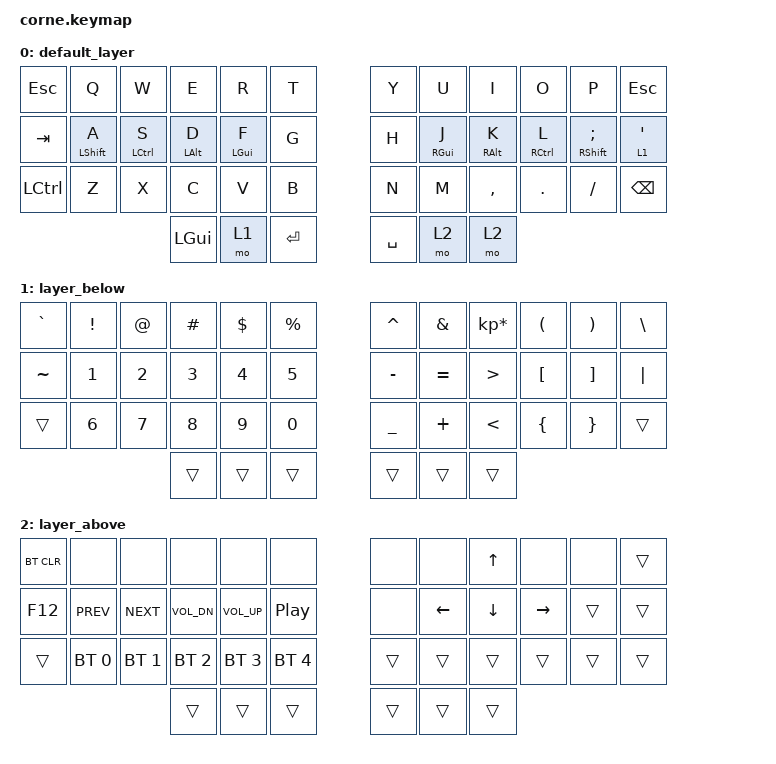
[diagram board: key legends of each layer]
/*
 * Copyright (c) 2020 The ZMK Contributors
 *
 * SPDX-License-Identifier: MIT
 */

#include <behaviors.dtsi>
#include <dt-bindings/zmk/keys.h>
#include <dt-bindings/zmk/bt.h>

/ {
        combos {
                compatible = "zmk,combos";
                // ╭─────┬─────┬─────┬─────┬─────┬─────╮   ╭─────┬─────┬─────┬─────┬─────┬─────╮
                // │  0  │  1  │  2  │  3  │  4  │  5  │   │  6  │  7  │  8  │  9  │ 10  │ 11  │
                // ├─────┼─────┼─────┼─────┼─────┼─────┤   ├─────┼─────┼─────┼─────┼─────┼─────┤
                // │ 12  │ 13  │ 14  │ 15  │ 16  │ 17  │   │ 18  │ 19  │ 20  │ 21  │ 22  │ 23  │
                // ├─────┼─────┼─────┼─────┼─────┼─────┤   ├─────┼─────┼─────┼─────┼─────┼─────┤
                // │ 24  │ 25  │ 26  │ 27  │ 28  │ 29  │   │ 30  │ 31  │ 32  │ 33  │ 34  │ 35  │
                // ╰─────┴─────┴─────┼─────┼─────┼─────┤   ├─────┼─────┼─────┼─────┴─────┴─────╯
                //                   │ 36  │ 37  │ 38  │   │ 39  │ 40  │ 41  │
                //                   ╰─────┴─────┴─────╯   ╰─────┴─────┴─────╯
                combo_enter {
                        timeout-ms = <50>;
                        key-positions = <19 20 21>;
                        bindings = <&kp RET>;
                };
        };

        behaviors {
          tp: tap_preferred {
            compatible = "zmk,behavior-hold-tap";
            label = "TAP_PREFERRED";
            #binding-cells = <2>;
            tapping-term-ms = <150>;
            quick-tap-ms = <200>;
            flavor = "tap-preferred";
            bindings = <&kp>, <&kp>;
          }; 
        };

        keymap {
                compatible = "zmk,keymap";

                default_layer {
// ╭──────┬───────┬───────┬───────┬───────┬─────╮   ╭─────┬───────┬───────┬───────┬───────┬────────╮
// │ ESC  │   Q   │   W   │   E   │   R   │  T  │   │  Y  │   U   │   I   │   O   │   P   │  ESC   │
// ├──────┼───────┼───────┼───────┼───────┼─────┤   ├─────┼───────┼───────┼───────┼───────┼────────┤
// │ TAB  │ A/SHF │ S/CTL │ D/ALT │ F/GUI │  G  │   │  H  │ J/GUI │ K/ALT │ L/CTL │ ;/SHF │ LWR/'  │
// ├──────┼───────┼───────┼───────┼───────┼─────┤   ├─────┼───────┼───────┼───────┼───────┼────────┤
// │ CTRL │   Z   │   X   │   C   │   V   │  B  │   │  N  │   M   │   ,   │   .   │   /   │  BSPC  │
// ╰──────┴───────┴───────┼───────┼───────┼─────┤   ├─────┼───────┼───────┼───────┴───────┴────────╯
//                        │  GUI  │  LWR  │ ENT │   │ SPC │  RSE  │  RSE  │
//                        ╰───────┴───────┴─────╯   ╰─────┴───────┴───────╯
                        bindings = <
   &kp ESC    &kp Q        &kp W        &kp E       &kp R       &kp T        &kp Y      &kp U       &kp I       &kp O        &kp P           &kp ESC
   &kp TAB    &tp LSHFT A  &tp LCTRL S  &tp LALT D  &tp LGUI F  &kp G        &kp H      &tp RGUI J  &tp RALT K  &tp RCTRL L  &tp RSHFT SEMI  &lt 1 SQT
   &kp LCTRL  &kp Z        &kp X        &kp C       &kp V       &kp B        &kp N      &kp M       &kp COMMA   &kp DOT      &kp FSLH        &kp BSPC
                                        &kp LGUI    &mo 1       &kp RET      &kp SPACE  &mo 2       &mo 2
                        >;
                };

                layer_below {
// ╭─────┬─────┬─────┬─────┬─────┬─────╮   ╭─────┬─────┬─────┬─────┬─────┬─────╮
// │  `  │  !  │  @  │  #  │  $  │  %  │   │  ^  │  &  │  *  │  (  │  )  │  \  │
// ├─────┼─────┼─────┼─────┼─────┼─────┤   ├─────┼─────┼─────┼─────┼─────┼─────┤
// │  ~  │  1  │  2  │  3  │  4  │  5  │   │  -  │  =  │  >  │  [  │  ]  │  |  │
// ├─────┼─────┼─────┼─────┼─────┼─────┤   ├─────┼─────┼─────┼─────┼─────┼─────┤
// │     │  6  │  7  │  8  │  9  │  0  │   │  _  │  +  │  <  │  {  │  }  │     │
// ╰─────┴─────┴─────┼─────┼─────┼─────┤   ├─────┼─────┼─────┼─────┴─────┴─────╯
//                   │     │     │     │   │     │     │     │
//                   ╰─────┴─────┴─────╯   ╰─────┴─────┴─────╯
                        bindings = <
   &kp GRAVE  &kp EXCL  &kp AT  &kp HASH  &kp DLLR  &kp PRCNT      &kp CARET  &kp AMPS   &kp KP_MULTIPLY  &kp LPAR  &kp RPAR  &kp BSLH
   &kp TILDE  &kp N1    &kp N2  &kp N3    &kp N4    &kp N5         &kp MINUS  &kp EQUAL  &kp GT           &kp LBKT  &kp RBKT  &kp PIPE
   &trans     &kp N6    &kp N7  &kp N8    &kp N9    &kp N0         &kp UNDER  &kp PLUS   &kp LT           &kp LBRC  &kp RBRC  &trans
                                &trans    &trans    &trans         &trans     &trans     &trans
                        >;
                };

                layer_above {
// ╭───────┬──────┬──────┬──────┬──────┬──────╮   ╭──────┬──────┬──────┬──────┬──────┬──────╮
// │ BTCLR │      │      │      │      │      │   │      │      │  UP  │      │      │      │
// ├───────┼──────┼──────┼──────┼──────┼──────┤   ├──────┼──────┼──────┼──────┼──────┼──────┤
// │  F12  │ Prev │ Next │ Vol- │ Vol+ │ Play │   │      │ LEFT │ DOWN │RIGHT │      │      │
// ├───────┼──────┼──────┼──────┼──────┼──────┤   ├──────┼──────┼──────┼──────┼──────┼──────┤
// │       │ BT1  │ BT2  │ BT3  │ BT4  │ BT5  │   │      │      │      │      │      │      │
// ╰───────┴──────┴──────┼──────┼──────┼──────┤   ├──────┼──────┼──────┼──────┴──────┴──────╯
//                       │      │      │      │   │      │      │      │
//                       ╰──────┴──────┴──────╯   ╰──────┴──────┴──────╯
                        bindings = <
   &bt BT_CLR  &none         &none         &none         &none         &none           &none   &none     &kp UP    &none      &none   &trans
   &kp F12     &kp C_PREV    &kp C_NEXT    &kp C_VOL_DN  &kp C_VOL_UP  &kp C_PP        &none   &kp LEFT  &kp DOWN  &kp RIGHT  &trans  &trans
   &trans      &bt BT_SEL 0  &bt BT_SEL 1  &bt BT_SEL 2  &bt BT_SEL 3  &bt BT_SEL 4    &trans  &trans    &trans    &trans     &trans  &trans
                                           &trans        &trans        &trans          &trans  &trans    &trans
                        >;
                };
        };
};
